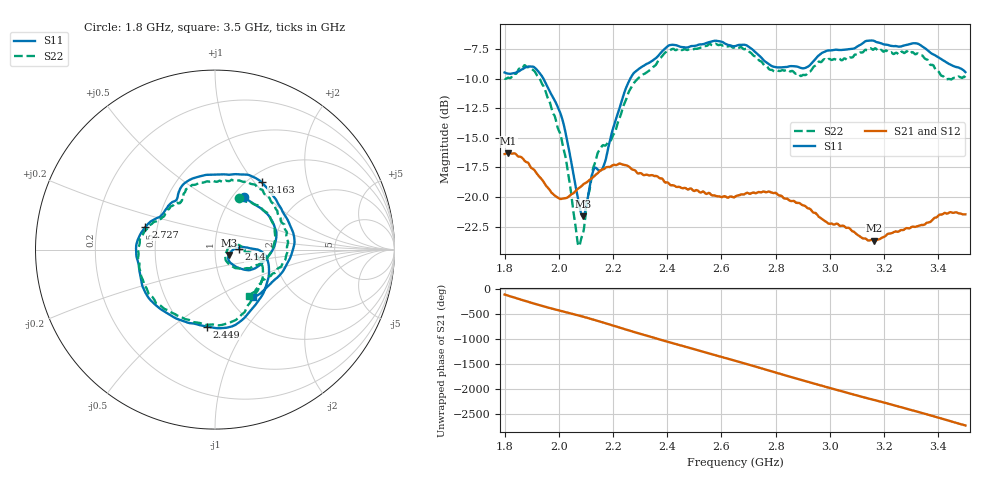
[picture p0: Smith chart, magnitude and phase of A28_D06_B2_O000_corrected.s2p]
! Created with skrf 1.9.0 (http://scikit-rf.org).
# Hz S RI R 50.0
!freq ReS11 ImS11 ReS21 ImS21 ReS12 ImS12 ReS22 ImS22
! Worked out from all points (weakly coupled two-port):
!   1601 points, 1.8 GHz to 3.5 GHz, reference 50 ohm
!   highest |S21| = -16.29 dB at 1.814 GHz (marker M1); lowest = -23.7 dB at 3.164 GHz (marker M2)
!   lowest |S11| = -21.6 dB at 2.09 GHz (marker M3), VSWR 1.18, Z = 58.3 - j3.55 ohm
!   |S11| at or under -10 dB: 1.943 GHz to 2.264 GHz (320.3 MHz wide, 15.2 % of centre)
!   |S22| runs from -24.1 to -7.0 dB; largest |S21 - S12| = 0.0025
!   S11 on the Smith chart (normalised r, x): 1.8 GHz: 1.13, +0.75; 2.14 GHz: 1.30, +0.01; 2.449 GHz: 0.64, -0.67; 2.727 GHz: 0.43, +0.13; 3.163 GHz: 1.15, +1.09; 3.5 GHz: 1.28, -0.76
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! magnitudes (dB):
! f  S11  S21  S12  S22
! 1.8 GHz  -9.5  -16.4  -16.4  -10.0
! 1.814 GHz  -9.6  -16.3  -16.3  -9.9
! 1.88 GHz  -9.0  -17.0  -17.0  -9.0
! 1.942 GHz  -10.0  -18.7  -18.7  -10.6
! 2.014 GHz  -13.5  -20.1  -20.1  -15.5
! 2.068 GHz  -19.8  -19.4  -19.4  -23.6
! 2.084 GHz  -21.4  -19.1  -19.0  -23.4
! 2.09 GHz  -21.6  -18.9  -19.0  -23.0
! 2.14 GHz  -17.6  -18.0  -18.0  -16.5
! 2.167 GHz  -17.3  -17.6  -17.6  -15.6
! 2.265 GHz  -9.9  -17.6  -17.6  -10.8
! 2.367 GHz  -8.1  -18.3  -18.3  -8.4
! 2.449 GHz  -7.3  -19.2  -19.2  -7.5
! 2.65 GHz  -7.2  -20.0  -19.9  -7.3
! 2.727 GHz  -7.8  -19.7  -19.7  -8.1
! 2.799 GHz  -9.0  -19.7  -19.6  -9.4
! 2.934 GHz  -8.7  -21.2  -21.2  -9.2
! 3.163 GHz  -6.8  -23.7  -23.6  -7.5
! 3.164 GHz  -6.8  -23.7  -23.6  -7.5
! 3.217 GHz  -7.2  -23.1  -23.1  -7.8
! 3.324 GHz  -7.0  -22.5  -22.4  -7.9
! 3.5 GHz  -9.4  -21.5  -21.4  -9.9
